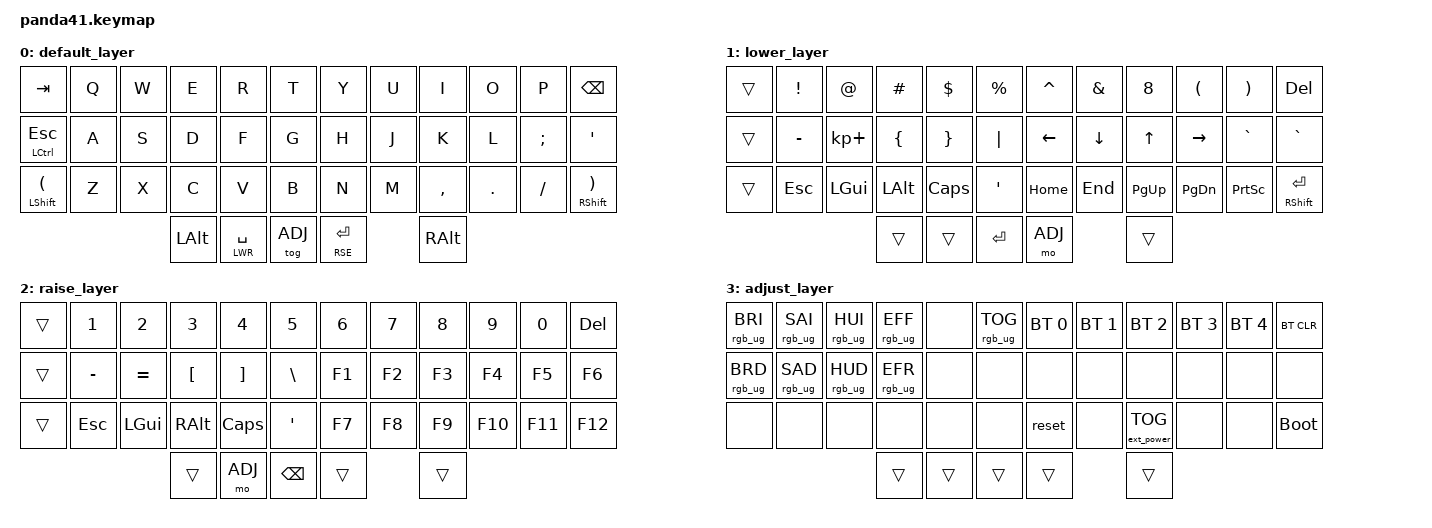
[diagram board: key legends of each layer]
/*
 * Copyright (c) 2020 The ZMK Contributors
 *
 * SPDX-License-Identifier: MIT
 */

#include <behaviors.dtsi>
#include <dt-bindings/zmk/keys.h>
#include <dt-bindings/zmk/bt.h>
#include <dt-bindings/zmk/rgb.h>
#include <dt-bindings/zmk/ext_power.h>
#include <dt-bindings/zmk/outputs.h>

#define DEF 0
#define LWR 1
#define RSE 2
#define ADJ 3

&lt { quick_tap_ms = <200>; };
&mt { quick_tap_ms = <200>; };

/ {
        keymap {
                compatible = "zmk,keymap";

                default_layer {
// -------------------------------------------------------------------------------------
// |  TAB     |  Q  |  W  |  E  |  R  |  T  |   |  Y  |  U   |  I  |  O  |  P  |   BKSP    |
// | CTRL/ESC |  A  |  S  |  D  |  F  |  G  |   |  H  |  J   |  K  |  L  |  ;  |    '      |
// | SHFT (   |  Z  |  X  |  C  |  V  |  B  |   |  N  |  M   |  ,  |  .  |  /  |   SHFT )  |
//                         | ALT | LWR/SPC | ADJ | RSE/ENT  | ALT |
                        bindings = <
   &kp TAB   &kp Q &kp W &kp E &kp R &kp T   &kp Y &kp U  &kp I     &kp O   &kp P    &kp BSPC
   &mt LCTRL ESC &kp A &kp S &kp D &kp F &kp G   &kp H &kp J  &kp K     &kp L   &kp SEMI &kp SQT
   &mt LSHFT LPAR &kp Z &kp X &kp C &kp V &kp B   &kp N &kp M  &kp COMMA &kp DOT &kp FSLH &mt RSHFT RPAR
                        &kp LALT  &lt LWR SPACE &tog ADJ &lt RSE RET &kp RALT
                        >;
                };

                lower_layer {
// ----------------------------------------------------------------------------------
// |    |  !  |  @  |  #  |  $  |  %  |   |  ^  |  &  |  *  |  (  |  )  |    DEL    |
// |    |  _  |  +  |  {  |  }  | "|" |   | LFT | DWN |  UP | RGT |  `  |     ~     |
// |    | ESC | GUI | ALT | CAPS|  "  |   | HOME| END | PGUP| PGDN| PRSC| SHFT(RET) |
//                       |     |     | RET | ADJ |     |
                        bindings = <
   &trans &kp EXCL  &kp AT      &kp HASH &kp DLLR &kp PRCNT      &kp CARET &kp AMPS &kp N8    &kp LPAR  &kp RPAR  &kp DEL
   &trans &kp MINUS &kp KP_PLUS &kp LBRC &kp RBRC &kp PIPE       &kp LEFT  &kp DOWN &kp UP    &kp RIGHT &kp GRAVE &kp GRAVE
   &trans &kp ESC   &kp LGUI    &kp LALT &kp CLCK &kp SQT        &kp HOME  &kp END  &kp PG_UP &kp PG_DN &kp PSCRN &mt RSHFT RET
                              &trans      &trans       &kp RET        &mo ADJ       &trans
                        >;
                };

                raise_layer {
// -----------------------------------------------------------------------------------------
// |    |  1  |  2  |  3  |  4  |  5  |   |  6  |  7  |  8  |  9  |  0  | DEL |
// |    |  -  |  =  |  [  |  ]  |  \  |   | F1  | F2  | F3  | F4  | F5  | F6  |
// |    | ESC | GUI | ALT | CAPS|  "  |   | F7  | F8  | F9  | F10 | F11 | F12 |
//                       |     | ADJ | BKSP |    |     |
                        bindings = <
   &trans &kp N1    &kp N2    &kp N3    &kp N4    &kp N5        &kp N6    &kp N7    &kp N8    &kp N9    &kp N0    &kp DEL
   &trans &kp MINUS &kp EQUAL &kp LBKT  &kp RBKT  &kp BSLH      &kp F1    &kp F2    &kp F3    &kp F4    &kp F5    &kp F6
   &trans &kp ESC   &kp LGUI  &kp RALT  &kp CLCK  &kp SQT       &kp F7    &kp F8    &kp F9    &kp F10   &kp F11   &kp F12
                                &trans      &mo ADJ       &kp BSPC        &trans      &trans
                        >;
                };

                adjust_layer {
// -----------------------------------------------------------------------------------------
// | RGB BRI+ | RGB SAT+ | RGB HUE+ | RGB ANI+ |    | RGB TOG |   BT1  | BT2 | BT3 | BT4    | BT5 | BT CLR     |
// | RGB BRI- | RGB SAT- | RGB HUE- | RGB ANI+ |    |         |   |       |     |     |        |     |            |
// |          |          |          |          |    |         |   | RESET |     | OFF |        |     | BOOTLOADER |
//                                              |     |     |     |     |     |
                        bindings = <
   &rgb_ug RGB_BRI &rgb_ug RGB_SAI &rgb_ug RGB_HUI &rgb_ug RGB_EFF &none &rgb_ug RGB_TOG    &bt BT_SEL 0 &bt BT_SEL 1 &bt BT_SEL 2 &bt BT_SEL 3 &bt BT_SEL 4 &bt BT_CLR
   &rgb_ug RGB_BRD &rgb_ug RGB_SAD &rgb_ug RGB_HUD &rgb_ug RGB_EFR &none &none              &none        &none        &none        &none        &none        &none
   &none           &none           &none           &none           &none &none              &reset       &none &ext_power EP_TOG   &none        &none        &bootloader
                                                             &trans      &trans     &trans        &trans      &trans
                        >;
                };
        };
};
